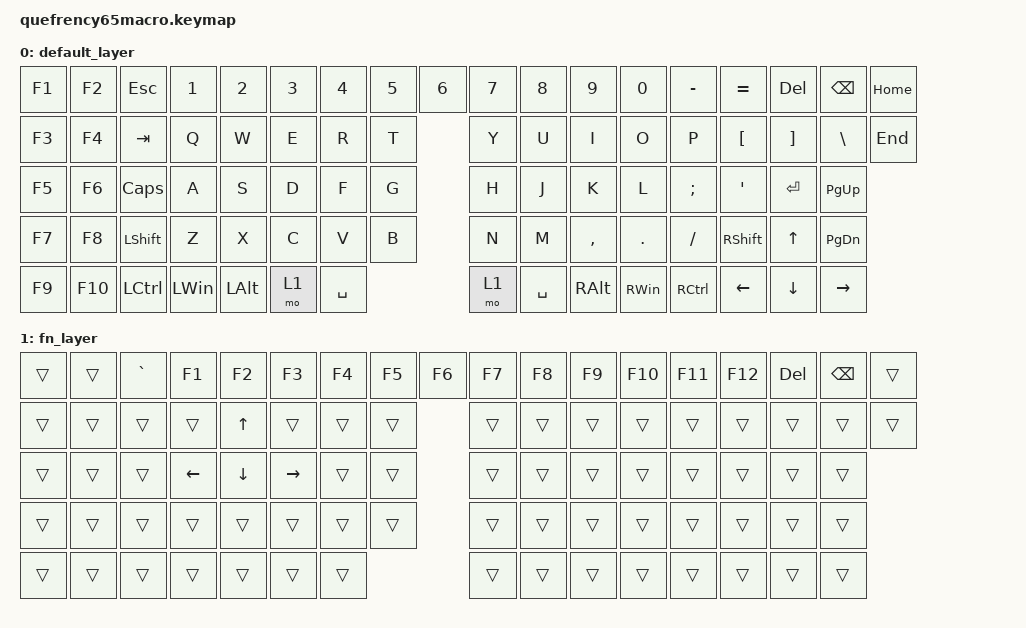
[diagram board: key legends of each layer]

  /*
  * Copyright (c) 2020 The ZMK Contributors
  *
  * SPDX-License-Identifier: MIT
  */

  #include <behaviors.dtsi>
  #include <dt-bindings/zmk/keys.h>
  #include <dt-bindings/zmk/bt.h>


  / {
    keymap {
        compatible = "zmk,keymap";
      
        default_layer {
            bindings = <
            
    &kp F1 &kp F2   &kp ESC   &kp N1   &kp N2   &kp N3   &kp N4    &kp N5   &kp N6      /**/   &kp N7    &kp N8    &kp N9    &kp N0    &kp MINUS   &kp EQUAL   &kp DEL   &kp BSPC   &kp HOME 
    &kp F3 &kp F4   &kp TAB   &kp Q    &kp W    &kp E    &kp R     &kp T                /**/   &kp Y     &kp U     &kp I     &kp O     &kp P       &kp LBKT    &kp RBKT  &kp BSLH   &kp END 
    &kp F5 &kp F6   &kp CAPS  &kp A    &kp S    &kp D    &kp F     &kp G                /**/   &kp H     &kp J     &kp K     &kp L     &kp SEMI    &kp SQT     &kp ENTER &kp PG_UP 
    &kp F7 &kp F8   &kp LSHFT &kp Z    &kp X    &kp C    &kp V     &kp B                /**/   &kp N     &kp M     &kp COMMA &kp DOT   &kp SLASH   &kp RSHFT   &kp UP    &kp PG_DN 
    &kp F9 &kp F10  &kp LCTRL &kp LWIN &kp LALT &mo 1    &kp SPACE                      /**/   &mo 1     &kp SPACE &kp RALT  &kp RWIN  &kp RCTRL   &kp LEFT    &kp DOWN  &kp RIGHT
            >;
        };
        
        fn_layer {
            bindings = <
    &trans  &trans  &kp GRAVE       &kp F1          &kp F2   &kp F3    &kp F4    &kp F5   &kp F6      /**/   &kp F7    &kp F8    &kp F9    &kp F10   &kp F11     &kp F12     &kp DEL   &kp BSPC   &trans   
    &trans  &trans  &trans          &trans          &kp UP   &trans    &trans    &trans               /**/   &trans    &trans    &trans    &trans    &trans      &trans      &trans    &trans     &trans  
    &trans  &trans  &trans          &kp LEFT        &kp DOWN &kp RIGHT &trans    &trans               /**/   &trans    &trans    &trans    &trans    &trans      &trans      &trans               &trans  
    &trans  &trans  &trans          &trans          &trans   &trans    &trans    &trans               /**/   &trans    &trans    &trans    &trans    &trans      &trans      &trans               &trans
    &trans  &trans  &trans          &trans          &trans   &trans    &trans                         /**/   &trans    &trans    &trans    &trans    &trans      &trans      &trans               &trans
            >;
        };
    };
  };
  
